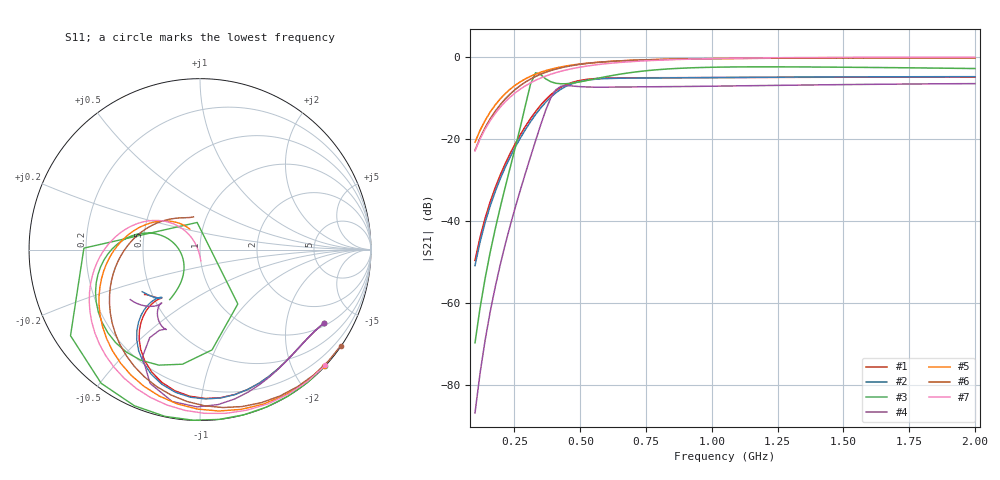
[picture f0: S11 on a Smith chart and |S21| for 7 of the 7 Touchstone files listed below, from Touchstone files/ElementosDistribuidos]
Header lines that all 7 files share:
# hz S ri R 50
! 2 Port Network Data from SP1.SP block
! freq  reS11  imS11  reS21  imS21  reS12  imS12  reS22  imS22
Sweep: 100 MHz to 2 GHz
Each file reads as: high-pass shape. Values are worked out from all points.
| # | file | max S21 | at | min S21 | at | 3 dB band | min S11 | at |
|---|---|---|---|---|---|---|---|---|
| 1 | 1_Stubs_PruebasProyectoSParams.s2p | -4.86 dB | 1.789 GHz | -49.6 dB | 100 MHz | 426.3 MHz-2 GHz | -8.8 dB | 829.3 MHz |
| 2 | 2_Stubs_PruebasProyectoSParams.s2p | -4.75 dB | 2 GHz | -50.9 dB | 100 MHz | 445.5 MHz-2 GHz | -8.9 dB | 810.1 MHz |
| 3 | 3_Stubs_PruebasProyectoSParams.s2p | -2.34 dB | 1.194 GHz | -69.8 dB | 100 MHz | 560.6 MHz-2 GHz | -19.1 dB | 1.136 GHz |
| 4 | 4_Stubs_PruebasProyectoSParams.s2p | -6.44 dB | 2 GHz | -86.9 dB | 100 MHz | 407.1 MHz-2 GHz | -8.3 dB | 886.9 MHz |
| 5 | PasaAltasSParams.s2p | -0.08 dB | 2 GHz | -20.8 dB | 100 MHz | 387.9 MHz-2 GHz | -17.5 dB | 2 GHz |
| 6 | StubPasaAltasSParams2.s2p | -0.17 dB | 1.962 GHz | -22.7 dB | 100 MHz | 407.1 MHz-2 GHz | -14.2 dB | 1.962 GHz |
| 7 | StubPasaAltasSParams.s2p | 0.00 dB | 1.77 GHz | -22.9 dB | 100 MHz | 464.6 MHz-2 GHz | -39.1 dB | 1.77 GHz |
